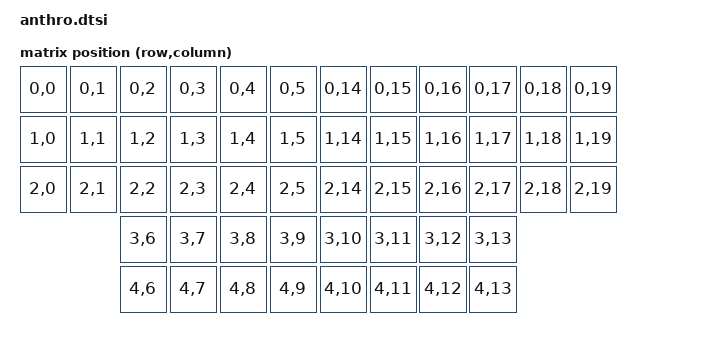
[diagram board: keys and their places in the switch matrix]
#include <dt-bindings/zmk/matrix_transform.h>

/ {
	chosen {
		zmk,kscan = &kscan_up;
		zmk,matrix_transform = &default_transform;
	};

	default_transform: keymap_transform_0 {
		compatible = "zmk,matrix-transform";
		columns = <20>;
		rows = <5>;
// |   1   |   2   |   3   |   4   |   5   |   6   |      |   6    |   5    |   4    |   3    |   2    |   1    |
// |   7   |   8   |   9   |   10  |   11  |   12  |      |   12   |   11   |   10   |   9    |   8    |   7    |
// |   13  |   14  |   15  |   16  |   17  |   18  |      |   18   |   17   |   16   |   15   |   14   |   13   |
//                   |   19  |   20  |   21  |   22  |  |   22   |   21   |   20   |   19   |
//                   |   23  |   24  |   25  |   26  |  |   26   |   25   |   24   |   23   |
		map = <
    RC(0,0) RC(0,1) RC(0,2) RC(0,3) RC(0,4) RC(0,5)        RC(0,14) RC(0,15) RC(0,16) RC(0,17) RC(0,18) RC(0,19)
    RC(1,0) RC(1,1) RC(1,2) RC(1,3) RC(1,4) RC(1,5)        RC(1,14) RC(1,15) RC(1,16) RC(1,17) RC(1,18) RC(1,19)
    RC(2,0) RC(2,1) RC(2,2) RC(2,3) RC(2,4) RC(2,5)        RC(2,14) RC(2,15) RC(2,16) RC(2,17) RC(2,18) RC(2,19)
                      RC(3,6) RC(3,7) RC(3,8) RC(3,9)    RC(3,10) RC(3,11) RC(3,12) RC(3,13) 
                      RC(4,6) RC(4,7) RC(4,8) RC(4,9)    RC(4,10) RC(4,11) RC(4,12) RC(4,13) 
		        >;
	};

	kscan_up: kscan_0 {
		compatible = "zmk,kscan-gpio-matrix";
		label = "KSCAN0";
		diode-direction = "col2row";
	};
};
